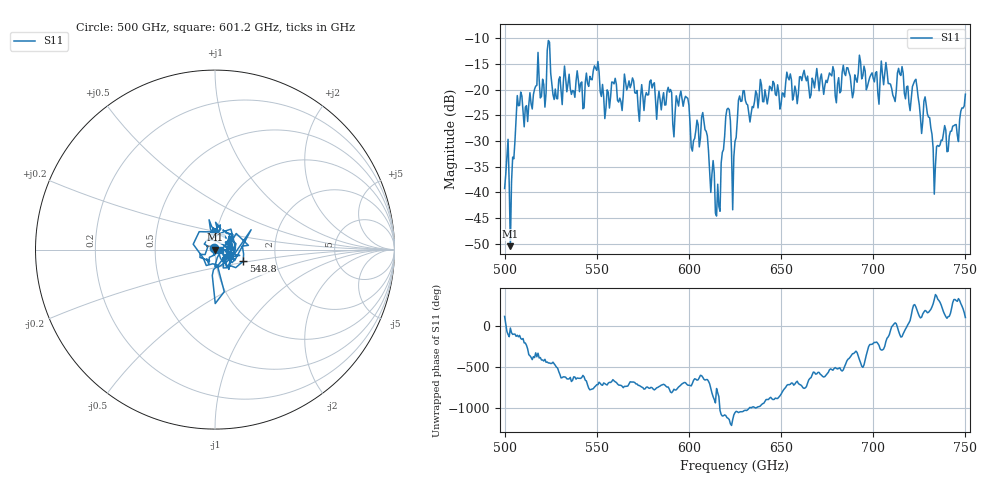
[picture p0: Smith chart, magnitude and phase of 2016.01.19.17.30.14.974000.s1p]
!Created with skrf (http://scikit-rf.org).
# GHz S RI R 50.0
!freq ReS11 ImS11
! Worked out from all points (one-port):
!   401 points, 500 GHz to 750 GHz, reference 50 ohm
!   lowest |S11| = -50.5 dB at 503.1 GHz (marker M1), VSWR 1.01, Z = 50.3 - j0.129 ohm
!   |S11| at or under -10 dB: start of sweep to end of sweep
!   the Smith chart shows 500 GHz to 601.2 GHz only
!   S11 on the Smith chart (normalised r, x): 500 GHz: 0.99, +0.02; 548.8 GHz: 1.36, -0.18; 601.2 GHz: 1.06, -0.01
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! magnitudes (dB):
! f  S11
! 500 GHz  -39.3
! 503.1 GHz  -50.5
! 508.1 GHz  -23.1
! 521.2 GHz  -19.0
! 524.4 GHz  -10.8
! 527.5 GHz  -19.9
! 531.2 GHz  -22.9
! 541.9 GHz  -18.5
! 548.8 GHz  -15.4
! 562.5 GHz  -21.7
! 568.8 GHz  -19.0
! 593.8 GHz  -22.2
! 598.8 GHz  -21.6
! 601.2 GHz  -31.3
! 608.1 GHz  -26.1
! 615.6 GHz  -38.4
! 620.6 GHz  -23.9
! 625 GHz  -30.1
! 628.8 GHz  -22.2
! 656.2 GHz  -22.1
! 687.5 GHz  -17.4
! 705.6 GHz  -19.1
! 711.2 GHz  -21.6
! 715 GHz  -17.3
! 718.8 GHz  -19.3
! 728.8 GHz  -23.0
! 733.8 GHz  -34.8
! 750 GHz  -20.9
